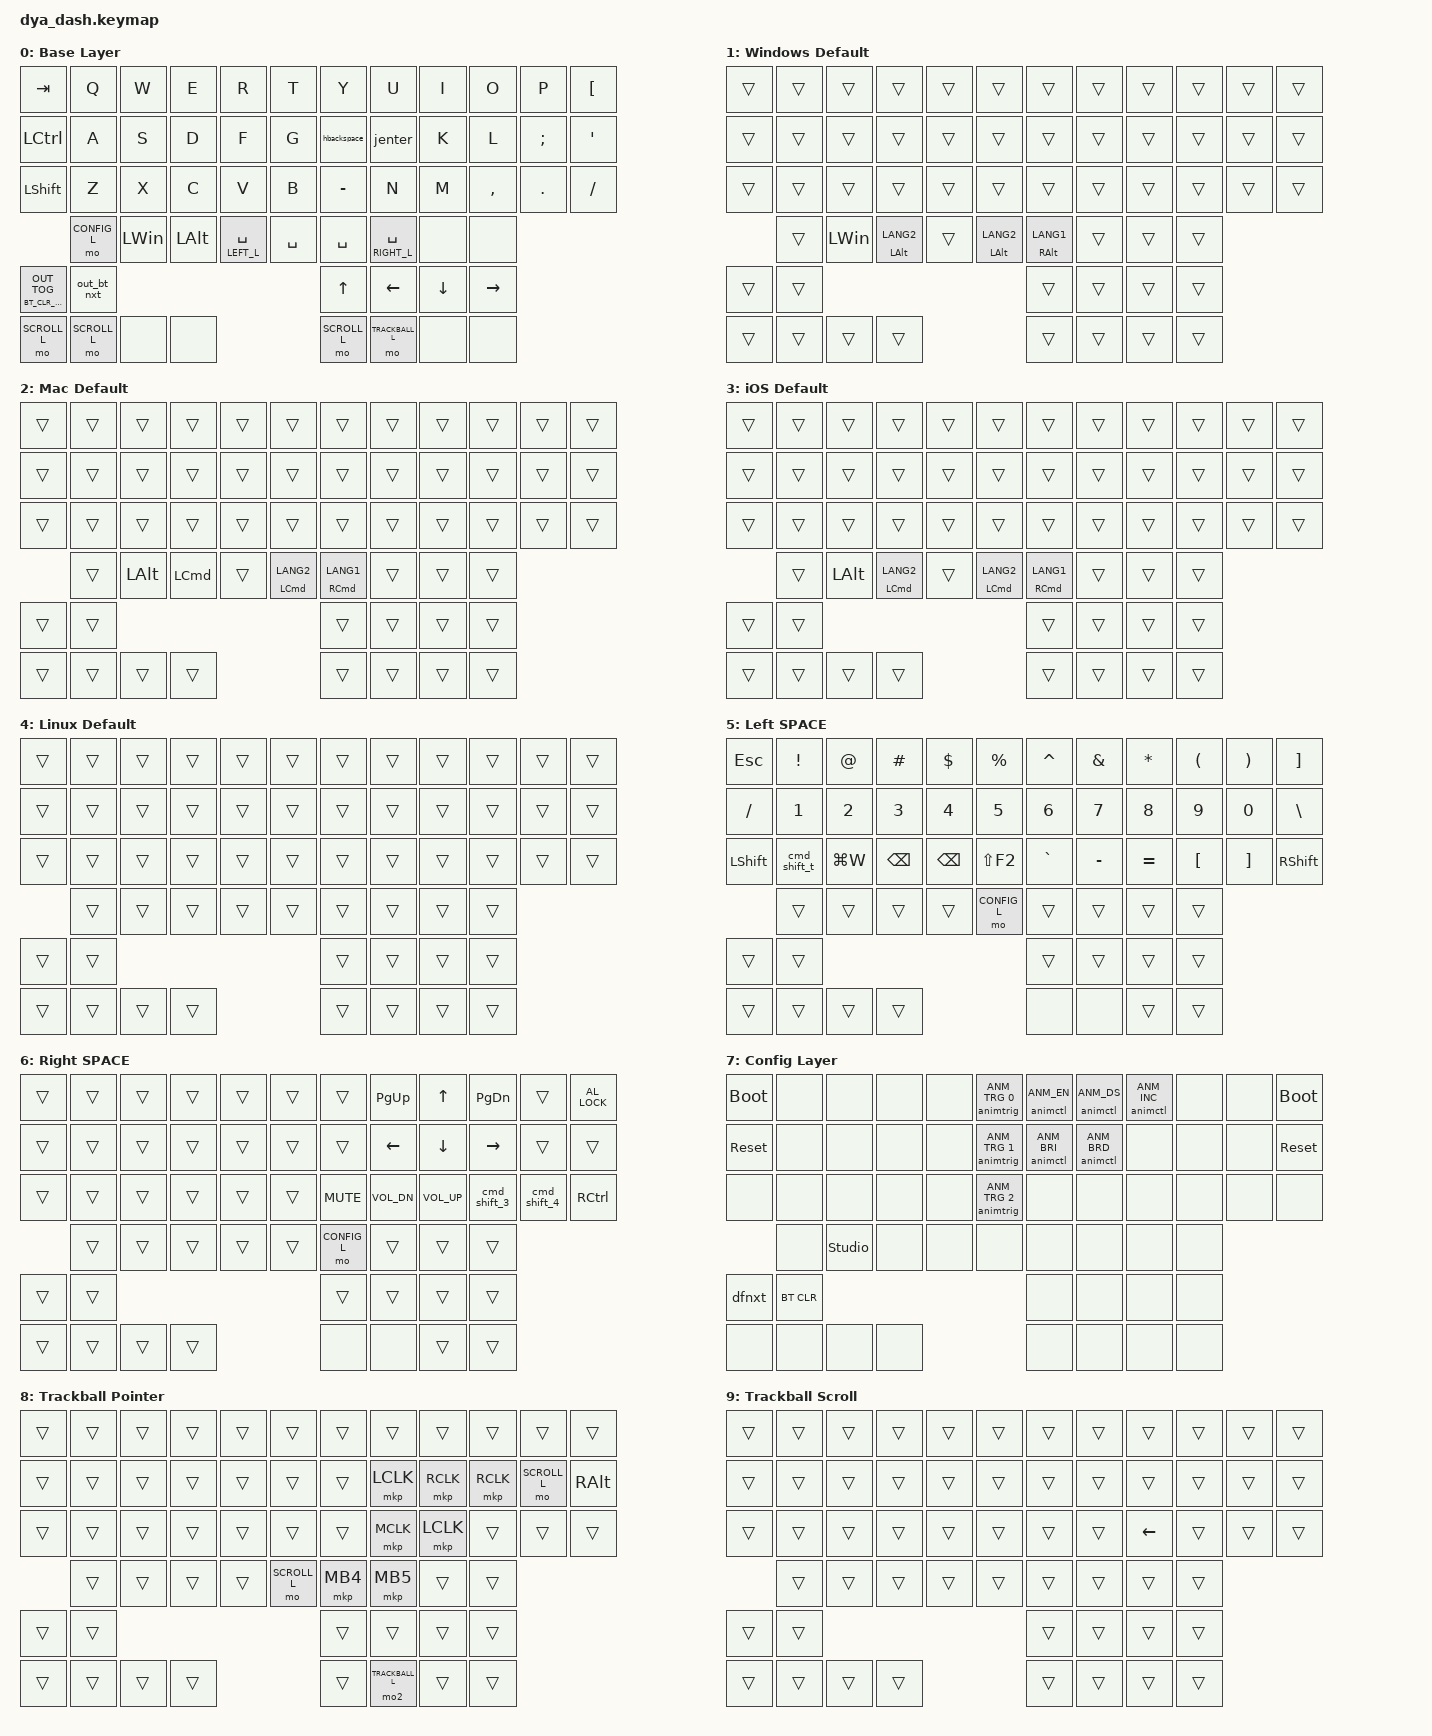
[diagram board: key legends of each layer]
#include <behaviors/mouse_move.dtsi>
#include <behaviors/animation_control.dtsi>
#include <behaviors/animation_trigger.dtsi>
#include <dt-bindings/zmk/mouse.h>
#include <dt-bindings/zmk_driver_animation/animation_control.h>
#include <dt-bindings/zmk_driver_animation/animation_trigger.h>
#include <dt-bindings/zmk_behavior_default_layer/default_layer.h>
#include <behaviors.dtsi>
#include <dt-bindings/zmk/bt.h>
#include <dt-bindings/zmk/keys.h>
#include <dt-bindings/zmk/outputs.h>
#include <dt-bindings/zmk/pointing.h>

// Layer definitions

#define DEFAULT_L 0
#define WINDOWS_L 1
#define MAC_L 2
#define IOS_L 3
#define LINUX_L 4
#define LEFT_L 5
#define RIGHT_L 6
#define CONFIG_L 7
#define TRACKBALL_L 8
#define SCROLL_L 9
#define EXT1_L 10
#define EXT2_L 11
#define EXT3_L 12

#define U_MOUSE_MOVE_MAX 3000  // 新しい最大速度設定（デフォルトは600）
#undef MOVE_UP
#undef MOVE_DOWN
#undef MOVE_LEFT
#undef MOVE_RIGHT
#define MOVE_UP MOVE_VERT(-U_MOUSE_MOVE_MAX)
#define MOVE_DOWN MOVE_VERT(U_MOUSE_MOVE_MAX)
#define MOVE_LEFT MOVE_HOR(-U_MOUSE_MOVE_MAX)
#define MOVE_RIGHT MOVE_HOR(U_MOUSE_MOVE_MAX)

&mmv {
    time-to-max-speed-ms = <400>;  // 最大速度に達するまでの時間（デフォルトは500）
};


#define U_MOUSE_SCROLL_MAX 1000  // 新しい最大スクロール速度設定（デフォルトは10）
#undef SCROLL_UP
#undef SCROLL_DOWN
#undef SCROLL_LEFT
#undef SCROLL_RIGHT
#define SCROLL_UP SCROLL_VERT(U_MOUSE_SCROLL_MAX)
#define SCROLL_DOWN SCROLL_VERT(-U_MOUSE_SCROLL_MAX)



&trackball_listener {
    // When trackball is used, TRACKBALL_L layer is activated.
    // After 500ms of trackball inactivity, the layer is deactivated.

    input-processors = <&zip_temp_layer TRACKBALL_L 500>;
};

&trackball_scroller { layers = <SCROLL_L>; };

&trackball_listener_l { input-processors = <&zip_temp_layer TRACKBALL_L 500>; };

&trackball_scroller_l { layers = <SCROLL_L>; };

&zip_temp_layer { excluded-positions = <19 20 21 22 32 33 41 52 53 54 55 56 57 58 59>; };
&zip_temp_layer {
    require-prior-idle-ms = <200>;
};

/ {
    behaviors {
        // ctrl+h as backspace

        hbackspace: h_or_ctrl_backspace {
            compatible = "zmk,behavior-mod-morph";
            #binding-cells = <0>;
            bindings = <&kp H>, <&kp BACKSPACE>;

            mods = <(MOD_LCTL)>;
        };

        // ctrl+j as enter

        jenter: j_or_ctrl_enter {
            compatible = "zmk,behavior-mod-morph";
            #binding-cells = <0>;
            bindings = <&kp J>, <&kp ENTER>;

            mods = <(MOD_LCTL)>;
        };

        // output for tap, bt for hold

        outbt: out_bt {
            compatible = "zmk,behavior-hold-tap";
            #binding-cells = <2>;
            flavor = "tap-preferred";
            tapping-term-ms = <1000>;
            bindings = <&bt1param>, <&out>;

            display-name = "Out-BT";
        };

        tog_off: toggle_layer_off_only {
            compatible = "zmk,behavior-toggle-layer";
            #binding-cells = <1>;
            display-name = "Toggle Layer Off";
            toggle-mode = "off";
        };
    };

    macros {
        out_bt_nxt: out_bt_nxt {
            compatible = "zmk,behavior-macro";
            #binding-cells = <0>;
            wait-ms = <50>;

            // Disconnect from all once for reliable connection to selected profile.
            // ZMK automatically reconnects to current profile right after disconnection.

            bindings = <&out OUT_BLE &bt BT_NXT &bt BT_DISC 0 &bt BT_DISC 1 &bt BT_DISC 2 &bt BT_DISC 3 &bt BT_DISC 4>;
        };

        dfnxt: dfnxt {
            compatible = "zmk,behavior-macro";
            #binding-cells = <0>;
            bindings = <&df DF_INC &animtrig ANM_TRG 2>;
        };

        // macro to use &bt in hold-tap. two param command is not supported in hold-tap for now.

        bt1param: bt_1param {
            compatible = "zmk,behavior-macro-one-param";
            #binding-cells = <1>;
            wait-ms = <0>;
            bindings = <&macro_param_1to1 &bt MACRO_PLACEHOLDER 0>;
        };

        // diactivate speficied layer and execute &mo to disable trackball temp layer disable callback

        mo2: mo2 {
            compatible = "zmk,behavior-macro-one-param";
            #binding-cells = <1>;
            bindings = <&macro_param_1to1 &tog_off MACRO_PLACEHOLDER &macro_param_1to1 &mo MACRO_PLACEHOLDER>;
        };
        cmd_shift_t: cmd_shift_t {
            compatible = "zmk,behavior-macro"; // マクロであることを示す必須プロパティ
            #binding-cells = <0>;           // このマクロは引数を取らないことを示す
            wait-ms = <0>;                  // 各キー操作間の待機時間（ミリ秒）。通常0で問題ありません

            // CmdキーとShiftキーを押しながらTを押し、その後CmdとShiftを離す
            // ZMKは通常、&kpでモディファイアとキーを組み合わせた場合、自動でモディファイアを離しますが、
            // 明示的に&kp UP_XXX で離すことで、より確実な動作が期待できます。
            bindings = <&kp LCMD &kp LSHIFT &kp T>;
        };
        cmd_shift_3: cmd_shift_3 {
            compatible = "zmk,behavior-macro"; // マクロであることを示す必須プロパティ
            #binding-cells = <0>;           // このマクロは引数を取らないことを示す
            wait-ms = <0>;                  // 各キー操作間の待機時間（ミリ秒）。通常0で問題ありません

            // CmdキーとShiftキーを押しながらTを押し、その後CmdとShiftを離す
            // ZMKは通常、&kpでモディファイアとキーを組み合わせた場合、自動でモディファイアを離しますが、
            // 明示的に&kp UP_XXX で離すことで、より確実な動作が期待できます。
            bindings = <&kp RCMD &kp RSHIFT &kp 3>;
        };
        cmd_shift_4: cmd_shift_4 {
            compatible = "zmk,behavior-macro"; // マクロであることを示す必須プロパティ
            #binding-cells = <0>;           // このマクロは引数を取らないことを示す
            wait-ms = <0>;                  // 各キー操作間の待機時間（ミリ秒）。通常0で問題ありません

            // CmdキーとShiftキーを押しながらTを押し、その後CmdとShiftを離す
            // ZMKは通常、&kpでモディファイアとキーを組み合わせた場合、自動でモディファイアを離しますが、
            // 明示的に&kp UP_XXX で離すことで、より確実な動作が期待できます。
            bindings = <&kp RCMD &kp RSHIFT &kp 4>;
        };
    };

    combos {
        compatible = "zmk,combos";

        // Right side's setting button shares input pin with arrow keys.
        // It works as a combo of two arrow keys.

        setting_r1 {
            timeout-ms = <10>;
            key-positions = <47 50>;
            bindings = <&kp C_VOL_DN>;
        };

        setting_r2 {
            timeout-ms = <10>;
            key-positions = <47 49>;
            bindings = <&kp C_VOL_UP>;
        };
    };

    keymap {
        compatible = "zmk,keymap";

        // template {
        //     bindings = <
        //         &trans      &trans      &trans      &trans      &trans      &trans      /**/ &trans      &trans      &trans      &trans      &trans      &trans
        //         &trans      &trans      &trans      &trans      &trans      &trans      /**/ &trans      &trans      &trans      &trans      &trans      &trans
        //         &trans      &trans      &trans      &trans      &trans      &trans      /**/ &trans      &trans      &trans      &trans      &trans      &trans
        //                     &trans      &trans      &trans      &trans      &trans      /**/ &trans      &trans      &trans      &trans
        //
        //         &trans      &trans                                                      /**/ &trans      &trans      &trans      &trans
        //         &trans      &trans      &trans      &trans                              /**/ &trans      &trans      &trans      &trans
        //     >;
        // };

        default_layer {
            display-name = "Base Layer";

            // --------------------------------------------------------------------------------------------------------------------------------------------------
            // |   TAB   |    Q    |    W    |    E       |    R             |    T    |            |    Y    |    U             |    I     |    O    |    P    |    [    |
            // |   CTRL  |    A    |    S    |    D       |    F             |    G    |            |    H    |    J             |    K     |    L    |    ;    |    '    |
            // |  SHIFT  |    Z    |    X    |    C       |    V             |    B    |            |    B    |    N             |    M     |    ,    |    .    |    /    |
            //           |   ALT   |   CMD   |   Cmd (En) |  SPACE or LOWER  |Cmd (En) |            | Cmd(ja) |  Space or LOWER2 |          |         |
            // --------------------------------------------------------------------------------------------------------------------------------------------------
            // | BLE     |  USB    |                                                                |  left   | up   | down | right |
            // | touch1  | touch2  | touch3  | touch 4    |                                         | touch1  | touch2  | touch3  | touch 4 |

            bindings = <
&kp TAB                    &kp Q         &kp W     &kp E     &kp R             &kp T      &kp Y         &kp U              &kp I     &kp O      &kp P     &kp LBKT
&kp LCTRL                  &kp A         &kp S     &kp D     &kp F             &kp G      &hbackspace   &jenter            &kp K     &kp L      &kp SEMI  &kp SQT
&kp LSHIFT                 &kp Z         &kp X     &kp C     &kp V             &kp B      &kp MINUS     &kp N              &kp M     &kp COMMA  &kp DOT   &kp FSLH
                           &mo CONFIG_L  &kp LWIN  &kp LALT  &lt LEFT_L SPACE  &kp SPACE  &kp SPACE     &lt RIGHT_L SPACE  &none     &none
&outbt BT_CLR_CMD OUT_TOG  &out_bt_nxt                                                    &kp UP        &kp LEFT           &kp DOWN  &kp RIGHT
&mo SCROLL_L               &mo SCROLL_L  &none     &none                                  &mo SCROLL_L  &mo TRACKBALL_L    &none     &none
            >;
        };

        windows_default_layer {
            display-name = "Windows Default";
            bindings = <
&trans  &trans  &trans    &trans          &trans  &trans          &trans          &trans  &trans  &trans  &trans  &trans
&trans  &trans  &trans    &trans          &trans  &trans          &trans          &trans  &trans  &trans  &trans  &trans
&trans  &trans  &trans    &trans          &trans  &trans          &trans          &trans  &trans  &trans  &trans  &trans
        &trans  &kp LWIN  &mt LALT LANG2  &trans  &mt LALT LANG2  &mt RALT LANG1  &trans  &trans  &trans
&trans  &trans                                                    &trans          &trans  &trans  &trans
&trans  &trans  &trans    &trans                                  &trans          &trans  &trans  &trans
            >;
        };

        mac_default_layer {
            display-name = "Mac Default";
            bindings = <
&trans  &trans  &trans    &trans    &trans  &trans          &trans          &trans  &trans  &trans  &trans  &trans
&trans  &trans  &trans    &trans    &trans  &trans          &trans          &trans  &trans  &trans  &trans  &trans
&trans  &trans  &trans    &trans    &trans  &trans          &trans          &trans  &trans  &trans  &trans  &trans
        &trans  &kp LALT  &kp LCMD  &trans  &mt LCMD LANG2  &mt RCMD LANG1  &trans  &trans  &trans
&trans  &trans                                                    &trans          &trans  &trans  &trans
&trans  &trans  &trans    &trans                                  &trans          &trans  &trans  &trans
            >;
        };

        ios_default_layer {
            display-name = "iOS Default";
            bindings = <
&trans  &trans  &trans    &trans          &trans  &trans          &trans          &trans  &trans  &trans  &trans  &trans
&trans  &trans  &trans    &trans          &trans  &trans          &trans          &trans  &trans  &trans  &trans  &trans
&trans  &trans  &trans    &trans          &trans  &trans          &trans          &trans  &trans  &trans  &trans  &trans
        &trans  &kp LALT  &mt LCMD LANG2  &trans  &mt LCMD LANG2  &mt RCMD LANG1  &trans  &trans  &trans
&trans  &trans                                                    &trans          &trans  &trans  &trans
&trans  &trans  &trans    &trans                                  &trans          &trans  &trans  &trans
            >;
        };

        linux_default_layer {
            display-name = "Linux Default";
            bindings = <
&trans  &trans  &trans  &trans  &trans  &trans  &trans  &trans  &trans  &trans  &trans  &trans
&trans  &trans  &trans  &trans  &trans  &trans  &trans  &trans  &trans  &trans  &trans  &trans
&trans  &trans  &trans  &trans  &trans  &trans  &trans  &trans  &trans  &trans  &trans  &trans
        &trans  &trans  &trans  &trans  &trans  &trans  &trans  &trans  &trans
&trans  &trans                                  &trans  &trans  &trans  &trans
&trans  &trans  &trans  &trans                  &trans  &trans  &trans  &trans
            >;
        };

        left_layer {
            display-name = "Left SPACE";

            // --------------------------------------------------------------------------------------------------------------------------------------------------------------------
            // |  ESC    |  !  |  @  |  #       |  $  |  %       |                           |  ^  |  &      |  *      |  (  |  )  |  ]  |
            // |         |  1  |  2  |  3       |  4  |  5       |                           |  6  |  7      |  8      |  9  |  0  |  \  |
            // |         |     |     |          |     |          |                           |  `  |  -      |  =      |  [  |  ]  |SHIFT|
            //           |     |     |          |     |          |                           |     |         |         |     |

            bindings = <
&kp ESC    &kp EXCL      &kp AT      &kp HASH  &kp DLLR  &kp PRCNT     &kp CARET  &kp AMPS   &kp ASTRK  &kp LPAR  &kp RPAR  &kp RBKT
&kp SLASH  &kp N1        &kp N2      &kp N3    &kp N4    &kp N5        &kp N6     &kp N7     &kp N8     &kp N9    &kp N0    &kp BACKSLASH
&kp LSHIFT &cmd_shift_t  &kp LG(W)   &kp BSPC  &kp BACKSPACE  &kp LS(F2)        &kp GRAVE  &kp MINUS  &kp EQUAL  &kp LBKT  &kp RBKT  &kp RSHIFT
           &trans        &trans      &trans    &trans    &mo CONFIG_L  &trans     &trans     &trans     &trans
&trans     &trans                                                      &trans     &trans     &trans     &trans
&trans     &trans        &trans      &trans                            &none      &none      &trans     &trans
            >;
        };

        right_layer {
            display-name = "Right SPACE";
            bindings = <
&trans  &trans  &trans  &trans  &trans  &trans  &trans        &kp PG_UP     &kp UP        &kp PG_DN  &trans  &kp C_AL_LOCK
&trans  &trans  &trans  &trans  &trans  &trans  &trans        &kp LEFT      &kp DOWN      &kp RIGHT  &trans  &trans
&trans  &trans  &trans  &trans  &trans  &trans  &kp C_MUTE    &kp C_VOL_DN  &kp C_VOL_UP  &cmd_shift_3     &cmd_shift_4  &kp RCTRL
        &trans  &trans  &trans  &trans  &trans  &mo CONFIG_L  &trans        &trans        &trans
&trans  &trans                                  &trans        &trans        &trans        &trans
&trans  &trans  &trans  &trans                  &none         &none         &trans        &trans
            >;
        };

        config_layer {
            display-name = "Config Layer";
            bindings = <
&bootloader  &none       &none           &none  &none  &animtrig ANM_TRG 0  &animctl ANM_EN   &animctl ANM_DS   &animctl ANM_INC  &none  &none  &bootloader
&sys_reset   &none       &none           &none  &none  &animtrig ANM_TRG 1  &animctl ANM_BRI  &animctl ANM_BRD  &none             &none  &none  &sys_reset
&none        &none       &none           &none  &none  &animtrig ANM_TRG 2  &none             &none             &none             &none  &none  &none
             &none       &studio_unlock  &none  &none  &none                &none             &none             &none             &none
&dfnxt       &bt BT_CLR                                                     &none             &none             &none             &none
&none        &none       &none           &none                              &none             &none             &none             &none
            >;
        };

        trackball_layer {
            display-name = "Trackball Pointer";
            bindings = <
&trans  &trans  &trans  &trans  &trans  &trans        &trans    &trans            &trans     &trans     &trans        &trans
&trans  &trans  &trans  &trans  &trans  &trans        &trans    &mkp LCLK         &mkp RCLK  &mkp RCLK  &mo SCROLL_L  &kp RALT
&trans  &trans  &trans  &trans  &trans  &trans        &trans    &mkp MCLK         &mkp LCLK  &trans     &trans        &trans
        &trans  &trans  &trans  &trans  &mo SCROLL_L  &mkp MB4  &mkp MB5          &trans     &trans
&trans  &trans                                        &trans    &trans            &trans     &trans
&trans  &trans  &trans  &trans                        &trans    &mo2 TRACKBALL_L  &trans     &trans
            >;
        };

        scroll_layer {
            display-name = "Trackball Scroll";
            bindings = <
&trans  &trans  &trans  &trans  &trans  &trans  &trans  &trans  &trans  &trans  &trans  &trans
&trans  &trans  &trans  &trans  &trans  &trans  &trans  &trans  &trans  &trans  &trans  &trans
&trans  &trans  &trans  &trans  &trans  &trans  &trans  &trans  &kp LEFT  &trans  &trans  &trans
        &trans  &trans  &trans  &trans  &trans  &trans  &trans  &trans  &trans
&trans  &trans                                  &trans  &trans  &trans  &trans
&trans  &trans  &trans  &trans                  &trans  &trans  &trans  &trans
            >;
        };

        extra1 { status = "reserved"; };

        extra2 { status = "reserved"; };

        extra3 { status = "reserved"; };
    };
};
